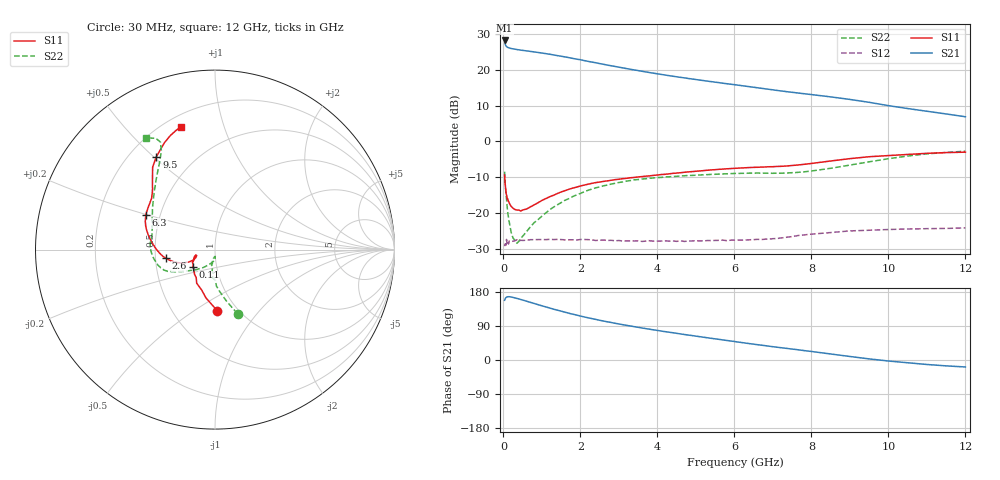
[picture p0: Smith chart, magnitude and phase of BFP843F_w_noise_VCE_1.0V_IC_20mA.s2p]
! Infineon Technologies  Discrete & RF Semiconductors
! BFP843F
! VCE =  1.0 V,  IC =  20 mA
! Common Emitter S-Parameters:  Aug 2013
# GHz  S  MA  R  50
!  f  S11  S21  S12  S22
! GHz  MAG  ANG  MAG  ANG  MAG  ANG  MAG  ANG
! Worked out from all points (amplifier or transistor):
!   103 points, 30 MHz to 12 GHz, reference 50 ohm
!   highest |S21| = 28.2 dB at 30 MHz (marker M1)
!   |S21| within 3 dB of that: start of sweep to 663.3 MHz
!   unconditionally stable (mu >= 1): 122.6 MHz to 149.6 MHz; 150.8 MHz to end of sweep
!   at 400 MHz: K = 1.02, MAG = 25.8 dB, |S12| = -27.7 dB
!   at 3.7 GHz: K = 1.22, MAG = 20.8 dB, |S12| = -27.8 dB
!   at 12 GHz: K = 1.25, MAG = 12.5 dB, |S12| = -24.1 dB
!   lowest NFmin = 0.91 dB at 450 MHz
!   S11 on the Smith chart (normalised r, x): 30 MHz: 0.81, -0.62; 110 MHz: 0.76, -0.15; 2.6 GHz: 0.57, -0.06; 6.3 GHz: 0.42, +0.20; 9.5 GHz: 0.31, +0.51; 12 GHz: 0.26, +0.73
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0.03  0.3397 -88.0  25.65 157.7  0.0346 25.1  0.3789 -70.6
0.04  0.2744 -100.5  23.62 159.5  0.0371 20.5  0.2936 -77.5
0.05  0.2374 -108.2  22.38 162.7  0.0369 15.1  0.2349 -83.6
0.06  0.2131 -118.6  21.81 164.0  0.0371 12.1  0.2026 -87.8
0.08  0.1791 -129.5  21.07 165.8  0.043 13.7  0.1569 -95.0
0.11  0.159 -141.6  20.56 166.8  0.0407 8.3  0.1045 -97.5
0.2  0.1241 -159.6  19.8 166.2  0.0403 7.9  0.054 -102.9
0.35  0.1105 -164.7  19.16 162.4  0.0425 4.1  0.038 -88.3
0.8  0.1306 -154.3  17.74 149.1  0.0426 3.1  0.0739 -102.7
1.2  0.1693 -155.2  16.49 137.2  0.0431 2.0  0.1113 -120.4
1.6  0.206 -158.9  15.11 126.1  0.0424 2.8  0.1513 -132.3
2.1  0.2463 -164.6  13.44 113.6  0.0429 1.3  0.1988 -142.8
2.6  0.2772 -170.2  11.93 102.8  0.0421 2.0  0.2405 -149.0
3.2  0.3062 -175.8  10.39 91.4  0.0411 3.7  0.28 -154.2
4.1  0.3456 175.6  8.617 76.4  0.0408 6.1  0.315 -160.8
5.1  0.3879 165.8  7.183 61.5  0.0411 10.0  0.34 -169.8
6.1  0.4247 155.9  6.098 47.3  0.0421 14.1  0.358 179.7
6.3  0.4301 153.4  5.898 44.5  0.0422 14.4  0.3599 177.4
8.5  0.534 130.7  4.187 15.9  0.0536 20.1  0.4223 145.4
9.5  0.6125 122.2  3.516 2.9  0.0577 17.2  0.52 128.7
10.5  0.659 115.3  2.88 -7.3  0.0601 15.8  0.6258 118.5
12  0.7089 105.5  2.211 -18.4  0.0622 17.0  0.7324 121.7
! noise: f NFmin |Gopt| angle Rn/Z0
0.45  0.91  0.05  178  0.09
0.9  0.91  0.06  172  0.09
1.5  0.94  0.08  171  0.09
1.9  0.99  0.08  172  0.1
2.4  1.03  0.1  173  0.1
3.5  1.07  0.13  -176  0.16
5.5  1.18  0.21  -147  0.23
10  1.69  0.38  -105  0.33
